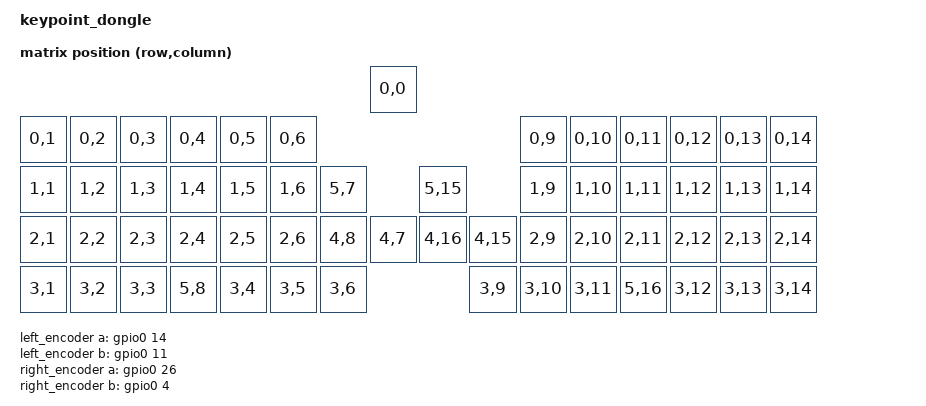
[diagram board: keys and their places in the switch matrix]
/*
 * Copyright (c) 2023 ZitaoTech
 *
 * SPDX-License-Identifier: MIT
 */

/dts-v1/;
#include <nordic/nrf52840_qiaa.dtsi>

#include <dt-bindings/led/led.h>
#include <dt-bindings/zmk/matrix_transform.h>
#include "keypoint_dongle-layouts.dtsi"



/ {
    model = "keypoint_dongle";
    compatible = "ZitaoTech,keypoint_dongle";

    chosen {
        zephyr,code-partition = &code_partition;
        zephyr,sram = &sram0;
        zephyr,flash = &flash0;
        zephyr,console = &cdc_acm_uart;
        zmk,kscan = &kscan0;
        zmk,physical-layouts = &keypoint_dongle_layout;
        zmk,studio-rpc-uart = &cdc_acm_uart; // ✅ 
    };
    default_transform: keymap_transform_0 {
        compatible = "zmk,matrix-transform";
        columns = <17>;
        rows = <6>;
        map = <
                                                            RC(0,0) 
RC(0,1)  RC(0,2) RC(0,3) RC(0,4) RC(0,5) RC(0,6)                                         RC(0,9)  RC(0,10) RC(0,11) RC(0,12) RC(0,13) RC(0,14)
RC(1,1)  RC(1,2) RC(1,3) RC(1,4) RC(1,5) RC(1,6)  RC(5,7)             RC(5,15)           RC(1,9)  RC(1,10) RC(1,11) RC(1,12) RC(1,13) RC(1,14)
RC(2,1)  RC(2,2) RC(2,3) RC(2,4) RC(2,5) RC(2,6)  RC(4,8)  RC(4,7)    RC(4,16) RC(4,15)  RC(2,9)  RC(2,10) RC(2,11) RC(2,12) RC(2,13) RC(2,14)
RC(3,1)  RC(3,2) RC(3,3) RC(5,8) RC(3,4) RC(3,5)  RC(3,6)                      RC(3,9)   RC(3,10) RC(3,11) RC(5,16) RC(3,12) RC(3,13) RC(3,14)
        >;
    };

left_encoder: encoder_left {
        compatible = "alps,ec11";
        a-gpios = <&gpio0 14 (GPIO_ACTIVE_HIGH )>;
        b-gpios = <&gpio0 11 (GPIO_ACTIVE_HIGH )>;
        steps = <80>;
        status = "disabled";
     };

right_encoder: encoder_right {
        compatible = "alps,ec11";
        a-gpios = <&gpio0 26 (GPIO_ACTIVE_HIGH )>;
        b-gpios = <&gpio0 4 (GPIO_ACTIVE_HIGH )>;
        steps = <80>;
        status = "disabled";
     };

     sensors: sensors {
        compatible = "zmk,keymap-sensors";
        sensors = <&left_encoder &right_encoder>;
        triggers-per-rotation = <20>;
    }; 
};



&usbd {
    status = "okay";
    cdc_acm_uart: cdc_acm_uart {
        compatible = "zephyr,cdc-acm-uart";
    };
};

&keypoint_dongle_layout{
	transform = <&default_transform>;
	kscan = <&kscan0>;
};  

zephyr_udc0: &usbd { 
    compatible = "nordic,nrf-usbd"; 
    status = "okay"; 
};

&flash0 {
    partitions {
        compatible = "fixed-partitions";
        #address-cells = <1>;
        #size-cells = <1>;

        sd_partition: partition@0 {
            reg = <0x00000000 0x00001000>;
        };

        code_partition: partition@1000 {
            reg = <0x00001000 0x000d3000>;
        };

        storage_partition: partition@d4000 {
            reg = <0x000d4000 0x00020000>;
        };

        boot_partition: partition@f4000 {
            reg = <0x000f4000 0x0000c000>;
        };
    };
};

